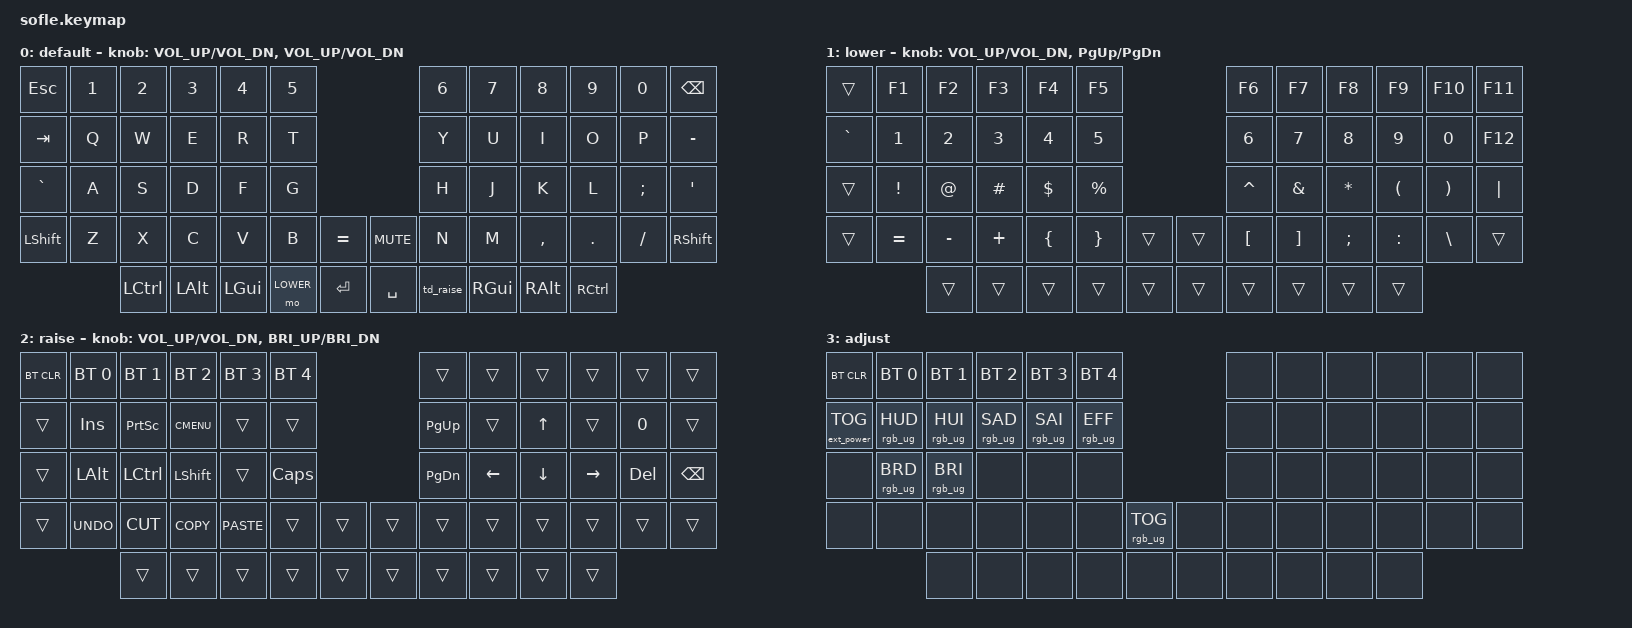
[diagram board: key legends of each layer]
/*
 * Copyright (c) 2020 The ZMK Contributors
 *
 * SPDX-License-Identifier: MIT
 */

#include <behaviors.dtsi>
#include <dt-bindings/zmk/keys.h>
#include <dt-bindings/zmk/bt.h>
#include <dt-bindings/zmk/rgb.h>
#include <dt-bindings/zmk/ext_power.h>

#define BASE 0
#define LOWER 1
#define RAISE 2
#define ADJUST 3

/ {

   // Activate ADJUST layer by pressing raise and lower
    conditional_layers {
        compatible = "zmk,conditional-layers";
        adjust_layer {
            if-layers = <LOWER RAISE>;
            then-layer = <ADJUST>;
        };
    };

    behaviors {
        td_raise: td_raise {
            compatible = "zmk,behavior-tap-dance";
            #binding-cells = <0>;

            bindings = <
                &mo RAISE   /* single tap or press/hold = momentary RAISE */
                &tog RAISE   /* double tap = toggle RAISE */
            >;
        };
    };

    keymap {
        compatible = "zmk,keymap";

        default_layer {
            display-name = "default";
// ------------------------------------------------------------------------------------------------------------
// |  ESC  |  1  |  2  |  3   |  4   |  5   |                   |  6   |  7    |  8    |  9   |   0   | BKSPC |
// |  TAB  |  Q  |  W  |  E   |  R   |  T   |                   |  Y   |  U    |  I    |  O   |   P   | MINUS |
// |   `   |  A  |  S  |  D   |  F   |  G   |                   |  H   |  J    |  K    |  L   |   ;   |   '   |
// | SHIFT |  Z  |  X  |  C   |  V   |  B   |  EQUAL |  |       |  N   |  M    |  ,    |  .   |   /   | SHIFT |
//               | CTRL| ALT  | GUI  | LOWER|  ENTER |  | SPACE | RAISE| GUI   | ALT   | CTRL |
            bindings = <
&kp ESC   &kp N1 &kp N2    &kp N3   &kp N4    &kp N5                           &kp N6 &kp N7    &kp N8    &kp N9   &kp N0   &kp BSPC
&kp TAB   &kp Q  &kp W     &kp E    &kp R     &kp T                            &kp Y  &kp U     &kp I     &kp O    &kp P    &kp MINUS
&kp GRAVE &kp A  &kp S     &kp D    &kp F     &kp G                            &kp H  &kp J     &kp K     &kp L    &kp SEMI &kp SQT
&kp LSHFT &kp Z  &kp X     &kp C    &kp V     &kp B      &kp EQUAL  &kp C_MUTE &kp N  &kp M     &kp COMMA &kp DOT  &kp FSLH &kp RSHFT
                 &kp LCTRL &kp LALT &kp LGUI  &mo LOWER  &kp RET    &kp SPACE  &td_raise  &kp RGUI &kp RALT  &kp RCTRL
            >;

            sensor-bindings = <&inc_dec_kp C_VOL_UP C_VOL_DN &inc_dec_kp C_VOL_UP C_VOL_DN>;
            // encoder-buttons = <&kp C_MUTE>;
        };

        lower_layer {
            display-name = "lower";
// TODO: Some binds are waiting for shifted keycode support.
// ------------------------------------------------------------------------------------------------------------
// |       |  F1 |  F2 |  F3  |  F4  |  F5  |                   |  F6  |  F7   |  F8   |  F9  |  F10  |  F11  |
// |   `   |  1  |  2  |  3   |  4   |  5   |                   |  6   |  7    |  8    |  9   |   0   |  F12  |
// |       |  !  |  @  |  #   |  $   |  %   |                   |  ^   |  &    |  *    |  (   |   )   |   |   |
// |       |  =  |  -  |  +   |  {   |  }   |        |  |       |  [   |  ]    |  ;    |  :   |   \   |       |
//               |     |      |      |      |        |  |       |      |       |       |      |
            bindings = <
&trans    &kp F1    &kp F2    &kp F3      &kp F4    &kp F5                    &kp F6    &kp F7   &kp F8    &kp F9    &kp F10   &kp F11
&kp GRAVE &kp N1    &kp N2    &kp N3      &kp N4    &kp N5                    &kp N6    &kp N7   &kp N8    &kp N9    &kp N0    &kp F12
&trans    &kp EXCL  &kp AT    &kp HASH    &kp DLLR  &kp PRCNT                 &kp CARET &kp AMPS &kp ASTRK &kp LPAR  &kp RPAR  &kp PIPE
&trans    &kp EQUAL &kp MINUS &kp PLUS &kp LBRC  &kp RBRC   &trans &trans  &kp LBKT  &kp RBKT &kp SEMI  &kp COLON &kp BSLH  &trans
                    &trans    &trans      &trans    &trans     &trans &trans  &trans    &trans   &trans    &trans
            >;

            sensor-bindings = <&inc_dec_kp C_VOL_UP C_VOL_DN &inc_dec_kp PG_UP PG_DN>;
        };

        raise_layer {
            display-name = "raise";
// ------------------------------------------------------------------------------------------------------------
// | BTCLR | BT1  | BT2  |  BT3  |  BT4  |  BT5 |                |      |      |       |      |       |       |
// |       | INS  | PSCR | GUI   |       |      |                | PGUP |      |   ^   |      |       |       |
// |       | ALT  | CTRL | SHIFT |       | CAPS |                | PGDN |   <- |   v   |  ->  |  DEL  | BKSPC |
// |       | UNDO | CUT  | COPY  | PASTE |      |      |  |      |      |      |       |      |       |       |
//                |      |       |       |      |      |  |      |      |      |       |      |
            bindings = <
&bt BT_CLR &bt BT_SEL 0 &bt BT_SEL 1 &bt BT_SEL 2 &bt BT_SEL 3 &bt BT_SEL 4                  &trans    &trans    &trans   &trans    &trans  &trans
&trans     &kp INS      &kp PSCRN    &kp K_CMENU  &trans       &trans                        &kp PG_UP &trans    &kp UP   &trans    &kp N0  &trans
&trans     &kp LALT     &kp LCTRL    &kp LSHFT    &trans       &kp CLCK                      &kp PG_DN &kp LEFT  &kp DOWN &kp RIGHT &kp DEL &kp BSPC
&trans     &kp K_UNDO   &kp K_CUT    &kp K_COPY   &kp K_PASTE  &trans        &trans  &trans  &trans    &trans    &trans   &trans    &trans  &trans
                        &trans       &trans       &trans       &trans        &trans  &trans  &trans    &trans    &trans   &trans
            >;

            sensor-bindings = <&inc_dec_kp C_VOL_UP C_VOL_DN &inc_dec_kp C_BRI_UP C_BRI_DN>;
        };

        adjust_layer {
// ----------------------------------------------------------------------------------------------------------------------------
// | BTCLR  |  BT1    |  BT2    |   BT3   |   BT4   |   BT5   |                  |      |      |       |      |       |       |
// | EXTPWR | RGB_HUD | RGB_HUI | RGB_SAD | RGB_SAI | RGB_EFF |                  |      |      |       |      |       |       |
// |        | RGB_BRD | RGB_BRI |         |         |         |                  |      |      |       |      |       |       |
// |        |         |         |         |         |         | RGB_TOG | |      |      |      |       |      |       |       |
//                    |         |         |         |         |         | |      |      |      |       |      |
            display-name = "adjust";
            bindings = <
&bt BT_CLR        &bt BT_SEL 0    &bt BT_SEL 1    &bt BT_SEL 2    &bt BT_SEL 3    &bt BT_SEL 4                            &none &none &none &none &none &none
&ext_power EP_TOG &rgb_ug RGB_HUD &rgb_ug RGB_HUI &rgb_ug RGB_SAD &rgb_ug RGB_SAI &rgb_ug RGB_EFF                         &none &none &none &none &none &none
&none             &rgb_ug RGB_BRD &rgb_ug RGB_BRI &none           &none           &none                                   &none &none &none &none &none &none
&none             &none           &none           &none           &none           &none            &rgb_ug RGB_TOG &none  &none &none &none &none &none &none
                                  &none           &none           &none           &none            &none           &none  &none &none &none &none
            >;
        };

    };
};
